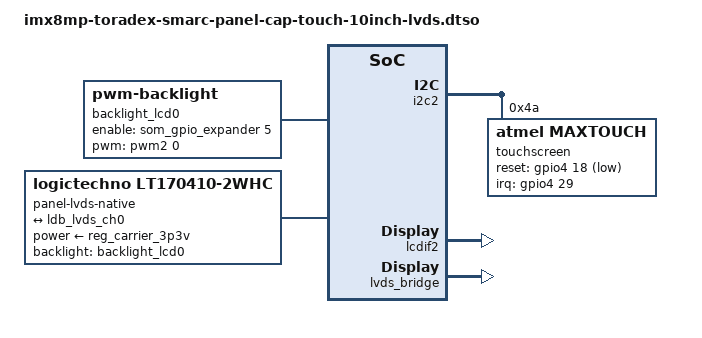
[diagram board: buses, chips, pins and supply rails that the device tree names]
// SPDX-License-Identifier: GPL-2.0-only OR MIT
/*
 * Copyright (c) Toradex
 *
 * Toradex Capacitive Touch Display 10.1" connected via Toradex SMARC
 * Development Board LVDS0. Connect the panel to J48 and the touch
 * controller to J49.
 *
 * https://developer.toradex.com/hardware/accessories/displays/capacitive-touch-display-101inch-lvds
 * https://www.toradex.com/accessories/capacitive-touch-display-10.1-inch-lvds
 */

/dts-v1/;
/plugin/;

#include <dt-bindings/clock/imx8mp-clock.h>
#include <dt-bindings/gpio/gpio.h>
#include <dt-bindings/interrupt-controller/irq.h>
#include <dt-bindings/pwm/pwm.h>

&{/} {
	backlight_lcd0: backlight-lcd0 {
		compatible = "pwm-backlight";
		brightness-levels = <0 45 63 88 119 158 203 255>;
		default-brightness-level = <4>;
		/* SMARC LCD0_BKLT_EN (SMARC S127) */
		enable-gpios = <&som_gpio_expander 5 GPIO_ACTIVE_HIGH>;
		/* SMARC LCD0_BKLT_PWM (SMARC S141) */
		pwms = <&pwm2 0 6666667 PWM_POLARITY_INVERTED>;
	};

	panel-lvds-native {
		compatible = "logictechno,lt170410-2whc";
		backlight = <&backlight_lcd0>;
		power-supply = <&reg_carrier_3p3v>;

		port {
			panel_lvds_native_in: endpoint {
				remote-endpoint = <&ldb_lvds_ch0>;
			};
		};
	};
};

/* SMARC I2C_LCD */
&i2c2 {
	#address-cells = <1>;
	#size-cells = <0>;

	touchscreen@4a {
		compatible = "atmel,maxtouch";
		reg = <0x4a>;
		/* SMARC GPIO6 (SMARC P114) - LVDS_TOUCH_INT# */
		interrupt-parent = <&gpio4>;
		interrupts = <29 IRQ_TYPE_EDGE_FALLING>;
		/* SMARC GPIO4 (SMARC P112) - LVDS_RST# */
		reset-gpios = <&gpio4 18 GPIO_ACTIVE_LOW>;
	};
};

&lcdif2 {
	status = "okay";
};

&ldb_lvds_ch0 {
	remote-endpoint = <&panel_lvds_native_in>;
};

&lvds_bridge {
	assigned-clocks = <&clk IMX8MP_CLK_MEDIA_LDB>,
			  <&clk IMX8MP_VIDEO_PLL1>;
	/*
	 * This display uses 71.1 MHz pixel clock, so IMX8MP_VIDEO_PLL1 needs
	 * to be 7 times 71.1 MHz, or 497.7 MHz as the internal divider will
	 * always divide the output LVDS clock by 7.
	 */
	assigned-clock-rates = <0>, <497700000>;

	status = "okay";
};
